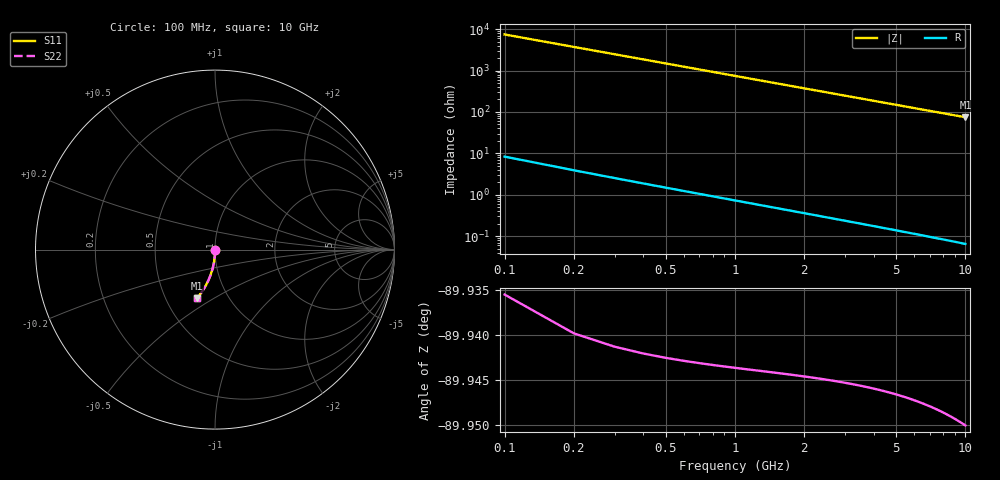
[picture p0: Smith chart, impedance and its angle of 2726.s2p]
# Hz S RI R 50.00
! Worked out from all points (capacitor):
!   100 points, 100 MHz to 10 GHz, reference 50 ohm
!   read as one part in shunt: C = 214 fF near 100 MHz
!   lowest |Z| = 74.6 ohm at 10 GHz (marker M1)
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1e8  0.000364 -0.00305  0.9996 -0.00368  0.9996 -0.00368  0.000364 -0.00305
2e8  0.000329 -0.00609  0.9996 -0.00736  0.9996 -0.00736  0.000329 -0.00609
3e8  0.000272 -0.00914  0.9995 -0.011  0.9995 -0.011  0.000272 -0.00914
4e8  0.000191 -0.0122  0.9994 -0.0147  0.9994 -0.0147  0.000191 -0.0122
5e8  8.85e-05 -0.0152  0.9993 -0.0184  0.9993 -0.0184  8.85e-05 -0.0152
6e8  -3.69e-05 -0.0183  0.9992 -0.0221  0.9992 -0.0221  -3.69e-05 -0.0183
7e8  -0.000185 -0.0213  0.999 -0.0258  0.999 -0.0258  -0.000185 -0.0213
8e8  -0.000355 -0.0244  0.9989 -0.0294  0.9989 -0.0294  -0.000355 -0.0244
9e8  -0.000548 -0.0274  0.9987 -0.0331  0.9987 -0.0331  -0.000548 -0.0274
1.1e9  -0.001 -0.0335  0.9982 -0.0404  0.9982 -0.0404  -0.001 -0.0335
1.4e9  -0.00185 -0.0426  0.9973 -0.0514  0.9973 -0.0514  -0.00185 -0.0426
1.8e9  -0.00329 -0.0546  0.9959 -0.0661  0.9959 -0.0661  -0.00329 -0.0546
2.1e9  -0.0046 -0.0637  0.9945 -0.077  0.9945 -0.077  -0.0046 -0.0637
2.5e9  -0.00665 -0.0756  0.9924 -0.0915  0.9924 -0.0915  -0.00665 -0.0756
2.9e9  -0.00905 -0.0875  0.99 -0.1059  0.99 -0.1059  -0.00905 -0.0875
3.4e9  -0.0125 -0.1022  0.9864 -0.1238  0.9864 -0.1238  -0.0125 -0.1022
4.2e9  -0.0192 -0.1254  0.9796 -0.152  0.9796 -0.152  -0.0192 -0.1254
5.1e9  -0.0282 -0.1508  0.9705 -0.1831  0.9705 -0.1831  -0.0282 -0.1508
5.9e9  -0.0375 -0.1726  0.961 -0.2101  0.961 -0.2101  -0.0375 -0.1726
6.7e9  -0.048 -0.1938  0.9503 -0.2363  0.9503 -0.2363  -0.048 -0.1938
8.4e9  -0.0737 -0.2359  0.924 -0.2893  0.924 -0.2893  -0.0737 -0.2359
1e10  -0.1016 -0.2717  0.8955 -0.3354  0.8955 -0.3354  -0.1016 -0.2717
